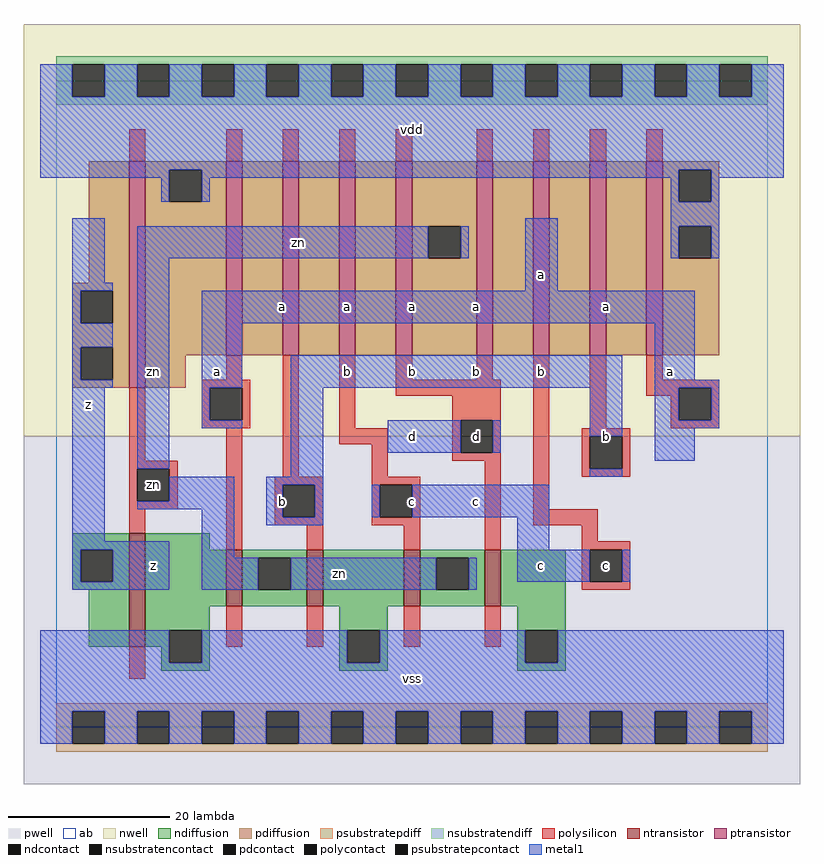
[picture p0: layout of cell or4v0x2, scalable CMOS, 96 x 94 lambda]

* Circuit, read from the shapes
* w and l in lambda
.subckt or4v0x2 a b c d vdd vss z zn
M1 vss zn z vss nfet w=14 l=2
M2 zn a vss vss nfet w=7 l=2
M3 vss b zn vss nfet w=7 l=2
M4 zn c vss vss nfet w=7 l=2
M5 vss d zn vss nfet w=7 l=2
M6 vdd zn z vdd pfet w=28 l=2
M7 n1 a vdd vdd pfet w=24 l=2
M8 n2 b n1 vdd pfet w=24 l=2
M9 n3 c n2 vdd pfet w=24 l=2
M10 zn d n3 vdd pfet w=24 l=2
M11 n4 d zn vdd pfet w=24 l=2
M12 n5 c n4 vdd pfet w=24 l=2
M13 n6 b n5 vdd pfet w=24 l=2
M14 vdd a n6 vdd pfet w=24 l=2
.ends

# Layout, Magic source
magic
tech scmos
<< ab >>
rect 0 0 88 80
<< pwell >>
rect -4 -7 92 36
<< nwell >>
rect -4 36 92 87
<< polysilicon >>
rect 9 70 11 74
rect 21 70 23 74
rect 28 70 30 74
rect 35 70 37 74
rect 42 70 44 74
rect 52 70 54 74
rect 59 70 61 74
rect 66 70 68 74
rect 73 70 75 74
rect 21 43 23 46
rect 18 42 24 43
rect 9 33 11 42
rect 18 38 19 42
rect 23 38 24 42
rect 18 37 24 38
rect 9 32 15 33
rect 9 28 10 32
rect 14 28 15 32
rect 9 27 15 28
rect 9 24 11 27
rect 21 22 23 37
rect 28 31 30 46
rect 35 37 37 46
rect 42 43 44 46
rect 52 43 54 46
rect 42 41 55 43
rect 49 38 55 41
rect 35 35 41 37
rect 39 31 41 35
rect 49 34 50 38
rect 54 34 55 38
rect 49 33 55 34
rect 27 30 33 31
rect 27 26 28 30
rect 32 26 33 30
rect 27 25 33 26
rect 39 30 45 31
rect 39 26 40 30
rect 44 26 45 30
rect 39 25 45 26
rect 31 22 33 25
rect 43 22 45 25
rect 53 22 55 33
rect 59 27 61 46
rect 66 37 68 46
rect 73 43 75 46
rect 73 42 82 43
rect 73 41 77 42
rect 76 38 77 41
rect 81 38 82 42
rect 76 37 82 38
rect 65 36 71 37
rect 65 32 66 36
rect 70 32 71 36
rect 65 31 71 32
rect 59 25 67 27
rect 65 23 67 25
rect 65 22 71 23
rect 65 18 66 22
rect 70 18 71 22
rect 65 17 71 18
rect 9 6 11 10
rect 21 10 23 15
rect 31 10 33 15
rect 43 10 45 15
rect 53 10 55 15
<< ndiffusion >>
rect 2 22 9 24
rect 2 18 3 22
rect 7 18 9 22
rect 2 17 9 18
rect 4 10 9 17
rect 11 22 19 24
rect 11 15 21 22
rect 23 21 31 22
rect 23 17 25 21
rect 29 17 31 21
rect 23 15 31 17
rect 33 15 43 22
rect 45 21 53 22
rect 45 17 47 21
rect 51 17 53 21
rect 45 15 53 17
rect 55 15 63 22
rect 11 12 19 15
rect 11 10 14 12
rect 13 8 14 10
rect 18 8 19 12
rect 35 12 41 15
rect 13 7 19 8
rect 35 8 36 12
rect 40 8 41 12
rect 57 12 63 15
rect 35 7 41 8
rect 57 8 58 12
rect 62 8 63 12
rect 57 7 63 8
<< pdiffusion >>
rect 4 55 9 70
rect 2 54 9 55
rect 2 50 3 54
rect 7 50 9 54
rect 2 47 9 50
rect 2 43 3 47
rect 7 43 9 47
rect 2 42 9 43
rect 11 69 21 70
rect 11 65 14 69
rect 18 65 21 69
rect 11 46 21 65
rect 23 46 28 70
rect 30 46 35 70
rect 37 46 42 70
rect 44 62 52 70
rect 44 58 46 62
rect 50 58 52 62
rect 44 46 52 58
rect 54 46 59 70
rect 61 46 66 70
rect 68 46 73 70
rect 75 69 82 70
rect 75 65 77 69
rect 81 65 82 69
rect 75 62 82 65
rect 75 58 77 62
rect 81 58 82 62
rect 75 46 82 58
rect 11 42 16 46
<< metal1 >>
rect -2 78 2 82
rect 6 78 10 82
rect 14 78 18 82
rect 22 78 26 82
rect 30 78 34 82
rect 38 78 42 82
rect 46 78 50 82
rect 54 78 58 82
rect 62 78 66 82
rect 70 78 74 82
rect 78 78 82 82
rect 86 78 90 82
rect -2 69 90 78
rect -2 68 14 69
rect 13 65 14 68
rect 18 68 77 69
rect 18 65 19 68
rect 76 65 77 68
rect 81 68 90 69
rect 81 65 82 68
rect 2 55 6 63
rect 10 58 46 62
rect 50 58 51 62
rect 2 54 7 55
rect 2 50 3 54
rect 2 47 7 50
rect 2 43 3 47
rect 2 42 7 43
rect 2 23 6 42
rect 10 32 14 58
rect 58 54 62 63
rect 76 62 82 65
rect 76 58 77 62
rect 81 58 82 62
rect 18 50 79 54
rect 18 42 23 50
rect 18 38 19 42
rect 18 37 23 38
rect 29 42 70 46
rect 29 31 33 42
rect 41 34 50 38
rect 54 34 55 38
rect 66 36 70 42
rect 74 43 79 50
rect 74 42 82 43
rect 74 38 77 42
rect 81 38 82 42
rect 74 37 82 38
rect 74 33 79 37
rect 66 31 70 32
rect 14 28 22 31
rect 10 27 22 28
rect 2 22 14 23
rect 2 18 3 22
rect 7 18 14 22
rect 2 17 14 18
rect 18 21 22 27
rect 26 30 33 31
rect 26 26 28 30
rect 32 26 33 30
rect 39 26 40 30
rect 44 26 61 30
rect 26 25 33 26
rect 57 22 61 26
rect 18 17 25 21
rect 29 17 47 21
rect 51 17 52 21
rect 57 18 66 22
rect 70 18 71 22
rect -2 8 14 12
rect 18 8 36 12
rect 40 8 58 12
rect 62 8 90 12
rect -2 2 90 8
rect -2 -2 2 2
rect 6 -2 10 2
rect 14 -2 18 2
rect 22 -2 26 2
rect 30 -2 34 2
rect 38 -2 42 2
rect 46 -2 50 2
rect 54 -2 58 2
rect 62 -2 66 2
rect 70 -2 74 2
rect 78 -2 82 2
rect 86 -2 90 2
<< ntransistor >>
rect 9 10 11 24
rect 21 15 23 22
rect 31 15 33 22
rect 43 15 45 22
rect 53 15 55 22
<< ptransistor >>
rect 9 42 11 70
rect 21 46 23 70
rect 28 46 30 70
rect 35 46 37 70
rect 42 46 44 70
rect 52 46 54 70
rect 59 46 61 70
rect 66 46 68 70
rect 73 46 75 70
<< polycontact >>
rect 19 38 23 42
rect 10 28 14 32
rect 50 34 54 38
rect 28 26 32 30
rect 40 26 44 30
rect 77 38 81 42
rect 66 32 70 36
rect 66 18 70 22
<< ndcontact >>
rect 3 18 7 22
rect 25 17 29 21
rect 47 17 51 21
rect 14 8 18 12
rect 36 8 40 12
rect 58 8 62 12
<< pdcontact >>
rect 3 50 7 54
rect 3 43 7 47
rect 14 65 18 69
rect 46 58 50 62
rect 77 65 81 69
rect 77 58 81 62
<< psubstratepcontact >>
rect 2 -2 6 2
rect 10 -2 14 2
rect 18 -2 22 2
rect 26 -2 30 2
rect 34 -2 38 2
rect 42 -2 46 2
rect 50 -2 54 2
rect 58 -2 62 2
rect 66 -2 70 2
rect 74 -2 78 2
rect 82 -2 86 2
<< nsubstratencontact >>
rect 2 78 6 82
rect 10 78 14 82
rect 18 78 22 82
rect 26 78 30 82
rect 34 78 38 82
rect 42 78 46 82
rect 50 78 54 82
rect 58 78 62 82
rect 66 78 70 82
rect 74 78 78 82
rect 82 78 86 82
<< psubstratepdiff >>
rect 0 2 88 3
rect 0 -2 2 2
rect 6 -2 10 2
rect 14 -2 18 2
rect 22 -2 26 2
rect 30 -2 34 2
rect 38 -2 42 2
rect 46 -2 50 2
rect 54 -2 58 2
rect 62 -2 66 2
rect 70 -2 74 2
rect 78 -2 82 2
rect 86 -2 88 2
rect 0 -3 88 -2
<< nsubstratendiff >>
rect 0 82 88 83
rect 0 78 2 82
rect 6 78 10 82
rect 14 78 18 82
rect 22 78 26 82
rect 30 78 34 82
rect 38 78 42 82
rect 46 78 50 82
rect 54 78 58 82
rect 62 78 66 82
rect 70 78 74 82
rect 78 78 82 82
rect 86 78 88 82
rect 0 77 88 78
<< labels >>
rlabel polycontact 12 30 12 30 6 zn
rlabel metal1 12 20 12 20 6 z
rlabel metal1 4 40 4 40 6 z
rlabel metal1 12 44 12 44 6 zn
rlabel metal1 28 28 28 28 6 b
rlabel metal1 20 44 20 44 6 a
rlabel metal1 28 52 28 52 6 a
rlabel metal1 44 6 44 6 6 vss
rlabel metal1 35 19 35 19 6 zn
rlabel metal1 44 28 44 28 6 c
rlabel metal1 36 44 36 44 6 b
rlabel metal1 44 36 44 36 6 d
rlabel metal1 44 44 44 44 6 b
rlabel metal1 44 52 44 52 6 a
rlabel metal1 36 52 36 52 6 a
rlabel metal1 30 60 30 60 6 zn
rlabel metal1 44 74 44 74 6 vdd
rlabel metal1 52 28 52 28 6 c
rlabel metal1 60 20 60 20 6 c
rlabel polycontact 68 20 68 20 6 c
rlabel polycontact 52 36 52 36 6 d
rlabel metal1 52 44 52 44 6 b
rlabel metal1 60 44 60 44 6 b
rlabel metal1 68 36 68 36 6 b
rlabel metal1 68 52 68 52 6 a
rlabel metal1 52 52 52 52 6 a
rlabel metal1 60 56 60 56 6 a
rlabel metal1 76 44 76 44 6 a
<< end >>
